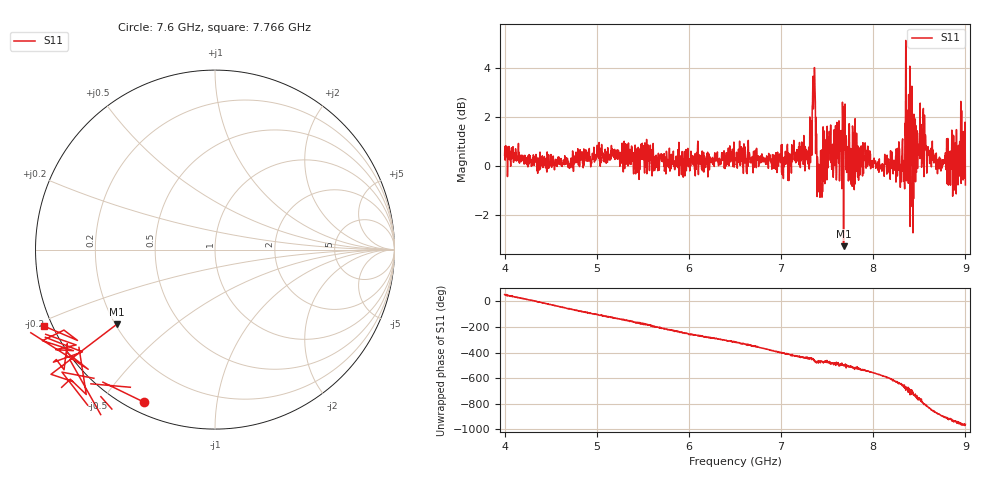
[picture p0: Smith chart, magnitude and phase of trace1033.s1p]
! Created with skrf 1.8.0 (http://scikit-rf.org).
# Hz S RI R 50.0
!freq ReS11 ImS11
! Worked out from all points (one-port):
!   1601 points, 4 GHz to 9 GHz, reference 50 ohm
!   lowest |S11| = -3.3 dB at 7.678 GHz (marker M1), VSWR 5.40, Z = 10.3 - j16.2 ohm
!   |S11| at or under -10 dB: nowhere
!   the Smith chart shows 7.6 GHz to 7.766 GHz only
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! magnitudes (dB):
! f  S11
! 4 GHz  0.4
! 4.625 GHz  0.0
! 5.25 GHz  0.0
! 5.875 GHz  0.1
! 6.5 GHz  0.3
! 7.125 GHz  0.4
! 7.294 GHz  0.6
! 7.353 GHz  2.6
! 7.369 GHz  2.9
! 7.4 GHz  -1.0
! 7.425 GHz  -1.1
! 7.512 GHz  1.2
! 7.578 GHz  1.1
! 7.631 GHz  1.4
! 7.678 GHz  -3.3
! 7.75 GHz  0.4
! 8.094 GHz  -0.2
! 8.262 GHz  -0.4
! 8.316 GHz  1.0
! 8.331 GHz  -0.6
! 8.375 GHz  -0.2
! 8.447 GHz  0.9
! 8.459 GHz  -0.6
! 8.522 GHz  1.5
! 8.722 GHz  -0.1
! 8.825 GHz  -0.5
! 8.956 GHz  0.6
! 9 GHz  -0.8
